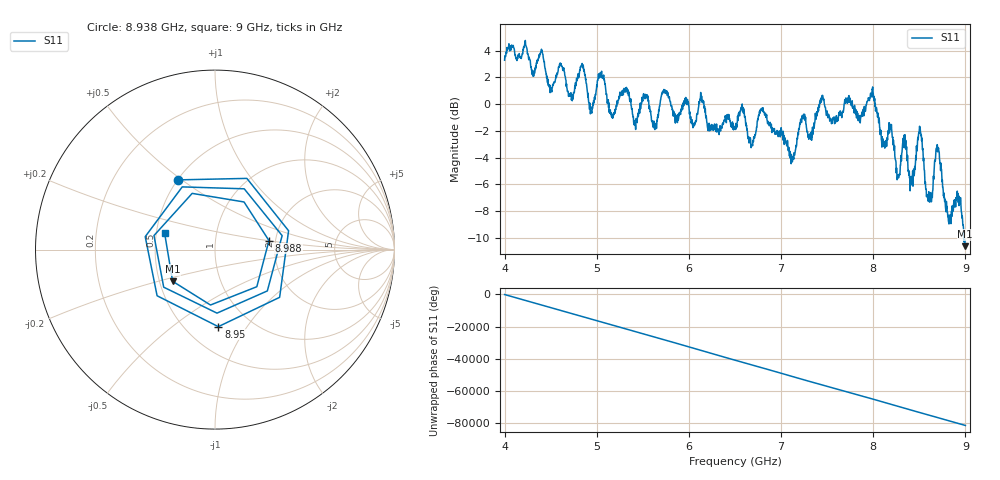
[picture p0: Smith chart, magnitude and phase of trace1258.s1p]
! Created with skrf 1.8.0 (http://scikit-rf.org).
# Hz S RI R 50.0
!freq ReS11 ImS11
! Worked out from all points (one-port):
!   1601 points, 4 GHz to 9 GHz, reference 50 ohm
!   lowest |S11| = -10.6 dB at 8.997 GHz (marker M1), VSWR 1.84, Z = 29.3 - j11.3 ohm
!   |S11| at or under -10 dB: 8.98338 GHz to end of sweep
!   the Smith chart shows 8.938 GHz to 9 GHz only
!   S11 on the Smith chart (normalised r, x): 8.938 GHz: 0.50, +0.48; 8.95 GHz: 0.71, -0.75; 8.988 GHz: 1.85, +0.20; 9 GHz: 0.55, +0.11
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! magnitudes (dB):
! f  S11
! 4 GHz  3.3
! 4.625 GHz  2.8
! 4.719 GHz  0.9
! 4.847 GHz  2.8
! 4.938 GHz  -0.5
! 5.041 GHz  2.2
! 5.159 GHz  -0.9
! 5.25 GHz  0.9
! 5.875 GHz  -1.4
! 6.5 GHz  -1.8
! 6.688 GHz  -3.0
! 6.797 GHz  -0.4
! 7.125 GHz  -4.2
! 7.234 GHz  -0.8
! 7.75 GHz  0.4
! 7.991 GHz  1.1
! 8.266 GHz  -5.3
! 8.375 GHz  -4.5
! 8.425 GHz  -5.4
! 8.506 GHz  -1.9
! 8.594 GHz  -7.2
! 8.697 GHz  -3.1
! 8.812 GHz  -8.3
! 8.938 GHz  -7.1
! 8.95 GHz  -7.3
! 8.988 GHz  -10.3
! 8.997 GHz  -10.6
! 9 GHz  -10.6
